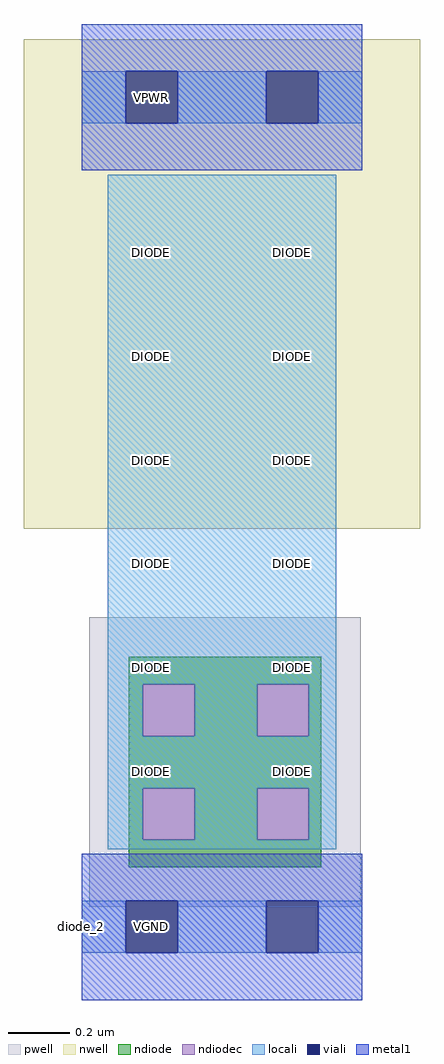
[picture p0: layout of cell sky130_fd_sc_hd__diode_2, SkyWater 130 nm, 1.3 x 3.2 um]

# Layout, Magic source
magic
tech sky130A
magscale 1 2
<< nwell >>
rect -38 261 222 582
<< pwell >>
rect 5 13 183 203
rect 29 -17 63 13
<< ndiode >>
rect 31 159 157 177
rect 31 125 40 159
rect 74 125 115 159
rect 149 125 157 159
rect 31 91 157 125
rect 31 57 40 91
rect 74 57 115 91
rect 149 57 157 91
rect 31 39 157 57
<< ndiodec >>
rect 40 125 74 159
rect 115 125 149 159
rect 40 57 74 91
rect 115 57 149 91
<< locali >>
rect 0 527 29 561
rect 63 527 121 561
rect 155 527 184 561
rect 17 159 167 493
rect 17 125 40 159
rect 74 125 115 159
rect 149 125 167 159
rect 17 91 167 125
rect 17 57 40 91
rect 74 57 115 91
rect 149 57 167 91
rect 17 51 167 57
rect 0 -17 29 17
rect 63 -17 121 17
rect 155 -17 184 17
<< viali >>
rect 29 527 63 561
rect 121 527 155 561
rect 29 -17 63 17
rect 121 -17 155 17
<< metal1 >>
rect 0 561 184 592
rect 0 527 29 561
rect 63 527 121 561
rect 155 527 184 561
rect 0 496 184 527
rect 0 17 184 48
rect 0 -17 29 17
rect 63 -17 121 17
rect 155 -17 184 17
rect 0 -48 184 -17
<< labels >>
flabel metal1 s 29 -17 63 17 0 FreeSans 200 0 0 0 VGND
flabel metal1 s 29 527 63 561 0 FreeSans 200 0 0 0 VPWR
flabel nwell s 29 527 63 561 0 FreeSans 200 0 0 0 VPB
flabel pwell s 29 -17 63 17 0 FreeSans 200 0 0 0 VNB
rlabel comment s 0 0 0 0 4 diode_2
flabel locali s 121 85 155 119 0 FreeSans 200 0 0 0 DIODE
flabel locali s 121 357 155 391 0 FreeSans 200 0 0 0 DIODE
flabel locali s 29 357 63 391 0 FreeSans 200 0 0 0 DIODE
flabel locali s 121 425 155 459 0 FreeSans 200 0 0 0 DIODE
flabel locali s 29 425 63 459 0 FreeSans 200 0 0 0 DIODE
flabel locali s 29 289 63 323 0 FreeSans 200 0 0 0 DIODE
flabel locali s 121 289 155 323 0 FreeSans 200 0 0 0 DIODE
flabel locali s 29 221 63 255 0 FreeSans 200 0 0 0 DIODE
flabel locali s 121 221 155 255 0 FreeSans 200 0 0 0 DIODE
flabel locali s 121 153 155 187 0 FreeSans 200 0 0 0 DIODE
flabel locali s 29 153 63 187 0 FreeSans 200 0 0 0 DIODE
flabel locali s 29 85 63 119 0 FreeSans 200 0 0 0 DIODE
<< properties >>
string FIXED_BBOX 0 0 184 544
string GDS_FILE gds/adc_wrapper.gds
string GDS_END 172340
string GDS_START 168886
string path 0.000 0.000 4.600 0.000 
<< end >>
